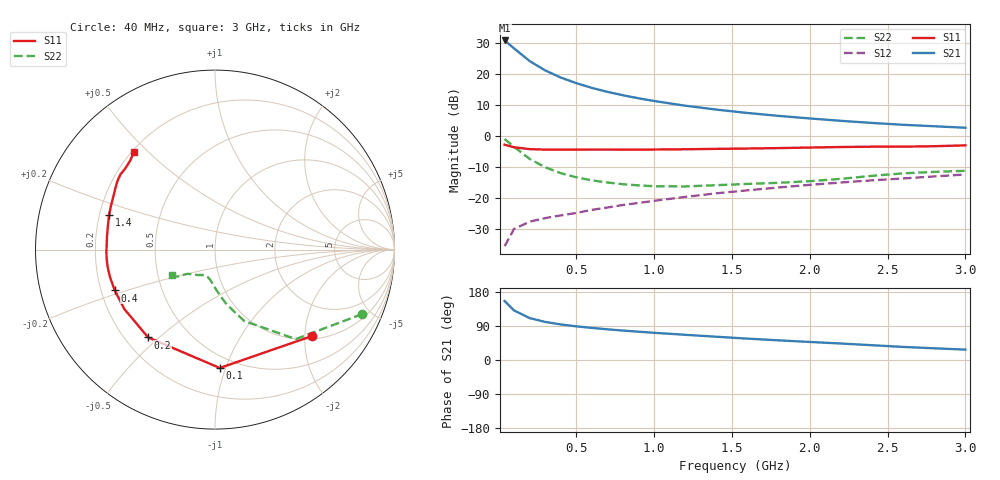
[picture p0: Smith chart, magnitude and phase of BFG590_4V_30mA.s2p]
! Filename:  BFG590C.S2P  Version:  4.0
! Philips part #: BFG590  Date: Jun 1994
! Bias condition: Vce=4V; Ic=30mA
#  MHz  S  MA  R  50
! Freq  S11  S21  S12  S22  !GUM [dB]
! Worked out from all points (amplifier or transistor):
!   21 points, 40 MHz to 3 GHz, reference 50 ohm
!   highest |S21| = 30.7 dB at 40 MHz (marker M1)
!   |S21| within 3 dB of that: start of sweep to 111.7 MHz
!   unconditionally stable (mu >= 1): 824 MHz to 2.429 GHz
!   at 300 MHz: K = 0.61, MSG = 23.7 dB, |S12| = -26.4 dB
!   at 1 GHz: K = 1.05, MAG = 14.6 dB, |S12| = -20.8 dB
!   at 3 GHz: K = 0.91, MSG = 7.5 dB, |S12| = -12.4 dB
!   S11 on the Smith chart (normalised r, x): 40 MHz: 1.07, -2.17; 100 MHz: 0.41, -0.95; 200 MHz: 0.29, -0.46; 400 MHz: 0.26, -0.18; 1.4 GHz: 0.24, +0.15; 3 GHz: 0.21, +0.45
40  0.724 -41.7  34.21 155.6  0.017 71.4  0.896 -23.6
100  0.66 -87.7  25.58 130.9  0.032 53.6  0.672 -47.9
200  0.615 -127.3  16.02 110.7  0.042 44.7  0.43 -67.7
300  0.604 -146.7  11.32 100.5  0.048 44.8  0.315 -77.7
400  0.603 -157.8  8.696 93.9  0.053 46.9  0.253 -84.3
500  0.605 -165.5  7.054 88.8  0.058 49.1  0.217 -89.3
600  0.606 -171.1  5.926 84.7  0.065 51.6  0.194 -93.2
700  0.606 -175.6  5.12 81.0  0.071 53.8  0.179 -96.6
800  0.605 -179.7  4.51 77.7  0.078 55.4  0.168 -99.9
900  0.604 176.6  4.033 74.7  0.084 56.8  0.161 -103.2
1000  0.606 173.3  3.649 71.8  0.091 57.7  0.156 -106.7
1200  0.612 167.0  3.064 66.5  0.105 59.3  0.155 -113.6
1400  0.621 161.9  2.653 61.4  0.12 60.1  0.162 -119.1
1600  0.629 157.0  2.342 56.4  0.134 60.1  0.17 -123.4
1800  0.639 152.5  2.103 51.9  0.149 60.2  0.177 -127.7
2000  0.652 148.3  1.913 47.6  0.164 59.9  0.188 -133.3
2200  0.665 144.7  1.752 43.5  0.179 59.3  0.205 -138.7
2400  0.673 141.5  1.62 39.0  0.194 58.1  0.229 -141.8
2600  0.674 137.9  1.513 34.5  0.208 56.6  0.251 -143.6
2800  0.685 133.6  1.433 30.9  0.224 55.4  0.265 -145.4
3000  0.707 129.7  1.356 27.4  0.241 54.0  0.276 -149.1
